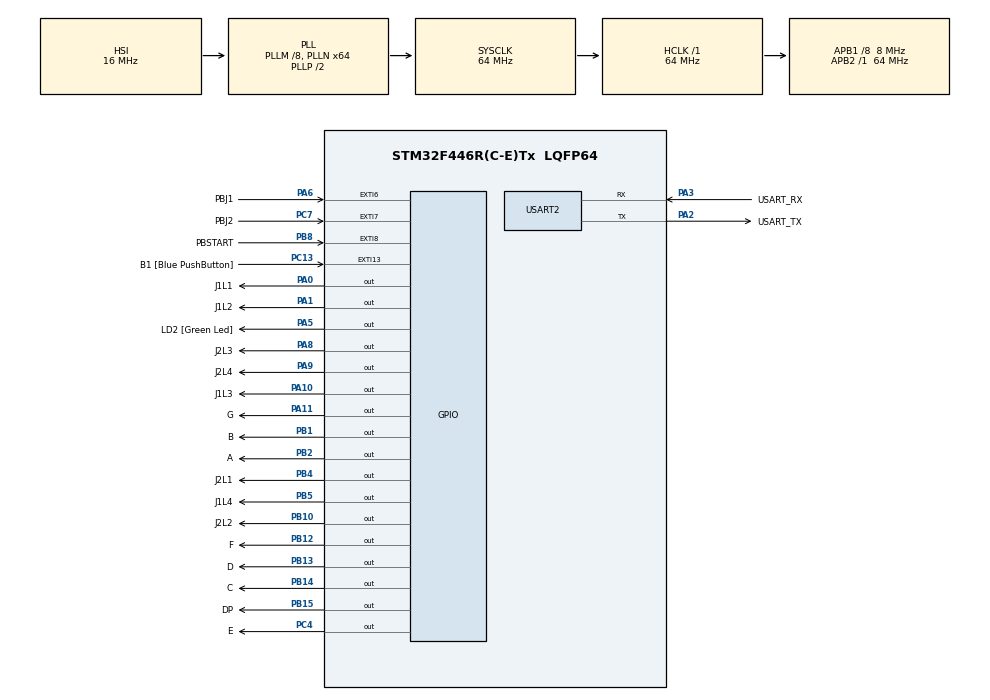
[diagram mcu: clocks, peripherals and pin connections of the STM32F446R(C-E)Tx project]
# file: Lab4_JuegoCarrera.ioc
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Mcu.Family=STM32F4
Mcu.Name=STM32F446R(C-E)Tx
Mcu.Package=LQFP64
NVIC.EXTI9_5_IRQn=true\:0\:0\:false\:false\:true\:true\:true\:true
NVIC.PriorityGroup=NVIC_PRIORITYGROUP_0
NVIC.TIM6_DAC_IRQn=true\:0\:0\:false\:false\:true\:true\:true\:true
PA0-WKUP.GPIO_Label=J1L1
PA0-WKUP.Signal=GPIO_Output
PA1.GPIO_Label=J1L2
PA1.Signal=GPIO_Output
PA10.GPIO_Label=J1L3
PA10.Signal=GPIO_Output
PA11.GPIO_Label=G
PA11.Signal=GPIO_Output
PA13.GPIO_Label=TMS
PA13.Mode=Serial_Wire
PA13.Signal=SYS_JTMS-SWDIO
PA14.GPIO_Label=TCK
PA14.Mode=Serial_Wire
PA14.Signal=SYS_JTCK-SWCLK
PA2.GPIO_Label=USART_TX
PA2.Mode=Asynchronous
PA2.Signal=USART2_TX
PA3.GPIO_Label=USART_RX
PA3.Mode=Asynchronous
PA3.Signal=USART2_RX
PA5.GPIO_Label=LD2 [Green Led]
PA5.Signal=GPIO_Output
PA6.GPIO_Label=PBJ1
PA6.GPIO_ModeDefaultEXTI=GPIO_MODE_IT_FALLING
PA6.GPIO_PuPd=GPIO_PULLUP
PA6.Signal=GPXTI6
PA8.GPIO_Label=J2L3
PA8.Signal=GPIO_Output
PA9.GPIO_Label=J2L4
PA9.Signal=GPIO_Output
PB1.GPIO_Label=B
PB1.Signal=GPIO_Output
PB10.GPIO_Label=J2L2
PB10.Signal=GPIO_Output
PB12.GPIO_Label=F
PB12.Signal=GPIO_Output
PB13.GPIO_Label=D
PB13.Signal=GPIO_Output
PB14.GPIO_Label=C
PB14.Signal=GPIO_Output
PB15.GPIO_Label=DP
PB15.Signal=GPIO_Output
PB2.GPIO_Label=A
PB2.Signal=GPIO_Output
PB3.GPIO_Label=SWO
PB3.Signal=SYS_JTDO-SWO
PB4.GPIO_Label=J2L1
PB4.Signal=GPIO_Output
PB5.GPIO_Label=J1L4
PB5.Signal=GPIO_Output
PB8.GPIO_Label=PBSTART
PB8.GPIO_ModeDefaultEXTI=GPIO_MODE_IT_FALLING
PB8.GPIO_PuPd=GPIO_PULLUP
PB8.Signal=GPXTI8
PC13.GPIO_Label=B1 [Blue PushButton]
PC13.GPIO_ModeDefaultEXTI=GPIO_MODE_IT_FALLING
PC13.GPIO_PuPd=GPIO_PULLUP
PC13.Signal=GPXTI13
PC14-OSC32_IN.Mode=LSE-External-Oscillator
PC14-OSC32_IN.Signal=RCC_OSC32_IN
PC15-OSC32_OUT.Mode=LSE-External-Oscillator
PC15-OSC32_OUT.Signal=RCC_OSC32_OUT
PC4.GPIO_Label=E
PC4.Signal=GPIO_Output
PC7.GPIO_Label=PBJ2
PC7.GPIO_ModeDefaultEXTI=GPIO_MODE_IT_FALLING
PC7.GPIO_PuPd=GPIO_PULLUP
PC7.Signal=GPXTI7
PH0-OSC_IN.Mode=HSE-External-Oscillator
PH0-OSC_IN.Signal=RCC_OSC_IN
PH1-OSC_OUT.Mode=HSE-External-Oscillator
PH1-OSC_OUT.Signal=RCC_OSC_OUT
ProjectManager.HeapSize=0x200
ProjectManager.StackSize=0x400
ProjectManager.TargetToolchain=STM32CubeIDE
RCC.48MHZClocksFreq_Value=84000000
RCC.AHBFreq_Value=64000000
RCC.APB1CLKDivider=RCC_HCLK_DIV8
RCC.APB1Freq_Value=8000000
RCC.APB1TimFreq_Value=16000000
RCC.APB2Freq_Value=64000000
RCC.APB2TimFreq_Value=64000000
RCC.CortexFreq_Value=64000000
RCC.FLatency-AdvancedSettings=FLASH_LATENCY_2
RCC.HCLKFreq_Value=64000000
RCC.HSE_VALUE=8000000
RCC.HSI_VALUE=16000000
RCC.PLLM=8
RCC.PLLN=64
RCC.SYSCLKFreq_VALUE=64000000
RCC.SYSCLKSource=RCC_SYSCLKSOURCE_PLLCLK
RCC.USBFreq_Value=64000000
RCC.VCOOutputFreq_Value=128000000
TIM6.AutoReloadPreload=TIM_AUTORELOAD_PRELOAD_ENABLE
TIM6.Period=2497-1
TIM6.Prescaler=1600-1
TIM6.TIM_MasterOutputTrigger=TIM_TRGO_UPDATE
USART2.VirtualMode=VM_ASYNC
VP_TIM6_VS_ClockSourceINT.Mode=Enable_Timer
board=NUCLEO-F446RE

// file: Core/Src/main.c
/* USER CODE BEGIN Header */
/**
  ******************************************************************************
  * @file           : main.c
  * @brief          : Main program body
  ******************************************************************************
  * @attention
  *
  * Copyright (c) 2026 STMicroelectronics.
  * All rights reserved.
  *
  * This software is licensed under terms that can be found in the LICENSE file
  * in the root directory of this software component.
  * If no LICENSE file comes with this software, it is provided AS-IS.
  *
  ******************************************************************************
  */
/* USER CODE END Header */
#include "main.h"

/* USER CODE BEGIN Includes */
#include "stdint.h"
/* USER CODE END Includes */

TIM_HandleTypeDef htim6;

UART_HandleTypeDef huart2;

/* USER CODE BEGIN PV */
uint8_t contador1 = 0;
uint8_t contador2 = 0;
uint8_t bandera_ganador = 0;
uint8_t bandera_start = 0;
uint8_t contador_tim = 0;
uint8_t bandera_carrera = 0;
/* USER CODE END PV */

void SystemClock_Config(void);
static void MX_GPIO_Init(void);
static void MX_USART2_UART_Init(void);
static void MX_TIM6_Init(void);

int main(void)
{

  /* MCU Configuration--------------------------------------------------------*/

  /* Reset of all peripherals, Initializes the Flash interface and the Systick. */
  HAL_Init();

  /* Configure the system clock */
  SystemClock_Config();

  /* Initialize all configured peripherals */
  MX_GPIO_Init();
  MX_USART2_UART_Init();
  MX_TIM6_Init();
  /* USER CODE BEGIN 2 */
HAL_TIM_Base_Start_IT(&htim6);
  /* USER CODE END 2 */

  /* Infinite loop */
  /* USER CODE BEGIN WHILE */
  while (1)
  {
	while(bandera_carrera == 0){

	}

	if(bandera_ganador){
		//HAL_GPIO_WritePin(B_GPIO_Port, B_Pin, 1);
		//HAL_GPIO_WritePin(C_GPIO_Port, C_Pin, 1);
	}else{
		if(contador1 == 1){
		    	HAL_GPIO_WritePin(J1L1_GPIO_Port, J1L1_Pin, 1);
		    	HAL_GPIO_WritePin(J1L2_GPIO_Port, J1L2_Pin, 0);
		    	HAL_GPIO_WritePin(J1L3_GPIO_Port, J1L3_Pin, 0);
		    	HAL_GPIO_WritePin(J1L4_GPIO_Port, J1L4_Pin, 0);
		    } else if (contador1 == 2){
		    	HAL_GPIO_WritePin(J1L1_GPIO_Port, J1L1_Pin, 0);
		    	HAL_GPIO_WritePin(J1L2_GPIO_Port, J1L2_Pin, 1);
		    	HAL_GPIO_WritePin(J1L3_GPIO_Port, J1L3_Pin, 0);
		    	HAL_GPIO_WritePin(J1L4_GPIO_Port, J1L4_Pin, 0);
		    }else if (contador1 == 3){
		    	HAL_GPIO_WritePin(J1L1_GPIO_Port, J1L1_Pin, 0);
		    	HAL_GPIO_WritePin(J1L2_GPIO_Port, J1L2_Pin, 0);
		    	HAL_GPIO_WritePin(J1L3_GPIO_Port, J1L3_Pin, 1);
		    	HAL_GPIO_WritePin(J1L4_GPIO_Port, J1L4_Pin, 0);
		    }else if (contador1 == 4){
		    	HAL_GPIO_WritePin(J1L1_GPIO_Port, J1L1_Pin, 0);
		    	HAL_GPIO_WritePin(J1L2_GPIO_Port, J1L2_Pin, 0);
		    	HAL_GPIO_WritePin(J1L3_GPIO_Port, J1L3_Pin, 0);
		    	HAL_GPIO_WritePin(J1L4_GPIO_Port, J1L4_Pin, 1);
		    }else if (contador1>=5){
		    	bandera_ganador = 1;
		    	HAL_GPIO_WritePin(J1L1_GPIO_Port, J1L1_Pin, 1);
		    	HAL_GPIO_WritePin(J1L2_GPIO_Port, J1L2_Pin, 1);
		    	HAL_GPIO_WritePin(J1L3_GPIO_Port, J1L3_Pin, 1);
		    	HAL_GPIO_WritePin(J1L4_GPIO_Port, J1L4_Pin, 1);
		    	HAL_GPIO_WritePin(J2L1_GPIO_Port, J2L1_Pin, 0);
		    	HAL_GPIO_WritePin(J2L2_GPIO_Port, J2L2_Pin, 0);
		    	HAL_GPIO_WritePin(J2L3_GPIO_Port, J2L3_Pin, 0);
		    	HAL_GPIO_WritePin(J2L4_GPIO_Port, J2L4_Pin, 0);

		    	HAL_GPIO_WritePin(A_GPIO_Port, A_Pin, 0);
				HAL_GPIO_WritePin(B_GPIO_Port, B_Pin, 0);
				HAL_GPIO_WritePin(C_GPIO_Port, C_Pin, 0);
				HAL_GPIO_WritePin(D_GPIO_Port, D_Pin, 0);
				HAL_GPIO_WritePin(E_GPIO_Port, E_Pin, 0);
				HAL_GPIO_WritePin(F_GPIO_Port, F_Pin, 0);
				HAL_GPIO_WritePin(G_GPIO_Port, G_Pin, 0);

				HAL_GPIO_WritePin(B_GPIO_Port, B_Pin, 1);
				HAL_GPIO_WritePin(C_GPIO_Port, C_Pin, 1);
				bandera_start = 0;
				bandera_carrera =0;
		    }

		    if(contador2 == 1){
		        	HAL_GPIO_WritePin(J2L1_GPIO_Port, J2L1_Pin, 1);
		        	HAL_GPIO_WritePin(J2L2_GPIO_Port, J2L2_Pin, 0);
		        	HAL_GPIO_WritePin(J2L3_GPIO_Port, J2L3_Pin, 0);
		        	HAL_GPIO_WritePin(J2L4_GPIO_Port, J2L4_Pin, 0);
		        } else if (contador2 == 2){
		        	HAL_GPIO_WritePin(J2L1_GPIO_Port, J2L1_Pin, 0);
		        	HAL_GPIO_WritePin(J2L2_GPIO_Port, J2L2_Pin, 1);
		        	HAL_GPIO_WritePin(J2L3_GPIO_Port, J2L3_Pin, 0);
		        	HAL_GPIO_WritePin(J2L4_GPIO_Port, J2L4_Pin, 0);
		        }else if (contador2 == 3){
		        	HAL_GPIO_WritePin(J2L1_GPIO_Port, J2L1_Pin, 0);
		        	HAL_GPIO_WritePin(J2L2_GPIO_Port, J2L2_Pin, 0);
		        	HAL_GPIO_WritePin(J2L3_GPIO_Port, J2L3_Pin, 1);
		        	HAL_GPIO_WritePin(J2L4_GPIO_Port, J2L4_Pin, 0);
		        }else if (contador2 == 4){
		        	HAL_GPIO_WritePin(J2L1_GPIO_Port, J2L1_Pin, 0);
		        	HAL_GPIO_WritePin(J2L2_GPIO_Port, J2L2_Pin, 0);
		        	HAL_GPIO_WritePin(J2L3_GPIO_Port, J2L3_Pin, 0);
		        	HAL_GPIO_WritePin(J2L4_GPIO_Port, J2L4_Pin, 1);
		        }else if(contador2 >=5){
		        	bandera_ganador = 1;
		        	HAL_GPIO_WritePin(J2L1_GPIO_Port, J2L1_Pin, 1);
		        	HAL_GPIO_WritePin(J2L2_GPIO_Port, J2L2_Pin, 1);
		        	HAL_GPIO_WritePin(J2L3_GPIO_Port, J2L3_Pin, 1);
		        	HAL_GPIO_WritePin(J2L4_GPIO_Port, J2L4_Pin, 1);
		        	HAL_GPIO_WritePin(J1L1_GPIO_Port, J1L1_Pin, 0);
		        	HAL_GPIO_WritePin(J1L2_GPIO_Port, J1L2_Pin, 0);
		        	HAL_GPIO_WritePin(J1L3_GPIO_Port, J1L3_Pin, 0);
		        	HAL_GPIO_WritePin(J1L4_GPIO_Port, J1L4_Pin, 0);

		        	HAL_GPIO_WritePin(A_GPIO_Port, A_Pin, 0);
					HAL_GPIO_WritePin(B_GPIO_Port, B_Pin, 0);
					HAL_GPIO_WritePin(C_GPIO_Port, C_Pin, 0);
					HAL_GPIO_WritePin(D_GPIO_Port, D_Pin, 0);
					HAL_GPIO_WritePin(E_GPIO_Port, E_Pin, 0);
					HAL_GPIO_WritePin(F_GPIO_Port, F_Pin, 0);
					HAL_GPIO_WritePin(G_GPIO_Port, G_Pin, 0);
					//2 ABGED
					HAL_GPIO_WritePin(A_GPIO_Port, A_Pin, 1);
					HAL_GPIO_WritePin(B_GPIO_Port, B_Pin, 1);
					HAL_GPIO_WritePin(G_GPIO_Port, G_Pin, 1);
					HAL_GPIO_WritePin(E_GPIO_Port, E_Pin, 1);
					HAL_GPIO_WritePin(D_GPIO_Port, D_Pin, 1);
					bandera_start = 0;
					bandera_carrera =0;
		        }
	}

    /* USER CODE END WHILE */

  }
}

void SystemClock_Config(void)
{
  RCC_OscInitTypeDef RCC_OscInitStruct = {0};
  RCC_ClkInitTypeDef RCC_ClkInitStruct = {0};

  /** Configure the main internal regulator output voltage
  */
  __HAL_RCC_PWR_CLK_ENABLE();
  __HAL_PWR_VOLTAGESCALING_CONFIG(PWR_REGULATOR_VOLTAGE_SCALE3);

  /** Initializes the RCC Oscillators according to the specified parameters
  * in the RCC_OscInitTypeDef structure.
  */
  RCC_OscInitStruct.OscillatorType = RCC_OSCILLATORTYPE_HSI;
  RCC_OscInitStruct.HSIState = RCC_HSI_ON;
  RCC_OscInitStruct.HSICalibrationValue = RCC_HSICALIBRATION_DEFAULT;
  RCC_OscInitStruct.PLL.PLLState = RCC_PLL_ON;
  RCC_OscInitStruct.PLL.PLLSource = RCC_PLLSOURCE_HSI;
  RCC_OscInitStruct.PLL.PLLM = 8;
  RCC_OscInitStruct.PLL.PLLN = 64;
  RCC_OscInitStruct.PLL.PLLP = RCC_PLLP_DIV2;
  RCC_OscInitStruct.PLL.PLLQ = 2;
  RCC_OscInitStruct.PLL.PLLR = 2;
  if (HAL_RCC_OscConfig(&RCC_OscInitStruct) != HAL_OK)
  {
    Error_Handler();
  }

  /** Initializes the CPU, AHB and APB buses clocks
  */
  RCC_ClkInitStruct.ClockType = RCC_CLOCKTYPE_HCLK|RCC_CLOCKTYPE_SYSCLK
                              |RCC_CLOCKTYPE_PCLK1|RCC_CLOCKTYPE_PCLK2;
  RCC_ClkInitStruct.SYSCLKSource = RCC_SYSCLKSOURCE_PLLCLK;
  RCC_ClkInitStruct.AHBCLKDivider = RCC_SYSCLK_DIV1;
  RCC_ClkInitStruct.APB1CLKDivider = RCC_HCLK_DIV8;
  RCC_ClkInitStruct.APB2CLKDivider = RCC_HCLK_DIV1;

  if (HAL_RCC_ClockConfig(&RCC_ClkInitStruct, FLASH_LATENCY_2) != HAL_OK)
  {
    Error_Handler();
  }
}

static void MX_TIM6_Init(void)
{

  TIM_MasterConfigTypeDef sMasterConfig = {0};

  htim6.Instance = TIM6;
  htim6.Init.Prescaler = 1600-1;
  htim6.Init.CounterMode = TIM_COUNTERMODE_UP;
  htim6.Init.Period = 2497-1;
  htim6.Init.AutoReloadPreload = TIM_AUTORELOAD_PRELOAD_ENABLE;
  if (HAL_TIM_Base_Init(&htim6) != HAL_OK)
  {
    Error_Handler();
  }
  sMasterConfig.MasterOutputTrigger = TIM_TRGO_UPDATE;
  sMasterConfig.MasterSlaveMode = TIM_MASTERSLAVEMODE_DISABLE;
  if (HAL_TIMEx_MasterConfigSynchronization(&htim6, &sMasterConfig) != HAL_OK)
  {
    Error_Handler();
  }

}

static void MX_USART2_UART_Init(void)
{

  huart2.Instance = USART2;
  huart2.Init.BaudRate = 115200;
  huart2.Init.WordLength = UART_WORDLENGTH_8B;
  huart2.Init.StopBits = UART_STOPBITS_1;
  huart2.Init.Parity = UART_PARITY_NONE;
  huart2.Init.Mode = UART_MODE_TX_RX;
  huart2.Init.HwFlowCtl = UART_HWCONTROL_NONE;
  huart2.Init.OverSampling = UART_OVERSAMPLING_16;
  if (HAL_UART_Init(&huart2) != HAL_OK)
  {
    Error_Handler();
  }

}

static void MX_GPIO_Init(void)
{
  GPIO_InitTypeDef GPIO_InitStruct = {0};

  /* GPIO Ports Clock Enable */
  __HAL_RCC_GPIOC_CLK_ENABLE();
  __HAL_RCC_GPIOH_CLK_ENABLE();
  __HAL_RCC_GPIOA_CLK_ENABLE();
  __HAL_RCC_GPIOB_CLK_ENABLE();

  /*Configure GPIO pin Output Level */
  HAL_GPIO_WritePin(GPIOA, J1L1_Pin|J1L2_Pin|LD2_Pin|J2L3_Pin
                          |J2L4_Pin|J1L3_Pin|G_Pin, GPIO_PIN_RESET);

  /*Configure GPIO pin Output Level */
  HAL_GPIO_WritePin(E_GPIO_Port, E_Pin, GPIO_PIN_RESET);

  /*Configure GPIO pin Output Level */
  HAL_GPIO_WritePin(GPIOB, B_Pin|A_Pin|J2L2_Pin|F_Pin
                          |D_Pin|C_Pin|DP_Pin|J2L1_Pin
                          |J1L4_Pin, GPIO_PIN_RESET);

  /*Configure GPIO pins : B1_Pin PBJ2_Pin */
  GPIO_InitStruct.Pin = B1_Pin|PBJ2_Pin;
  GPIO_InitStruct.Mode = GPIO_MODE_IT_FALLING;
  GPIO_InitStruct.Pull = GPIO_PULLUP;
  HAL_GPIO_Init(GPIOC, &GPIO_InitStruct);

  /*Configure GPIO pins : J1L1_Pin J1L2_Pin LD2_Pin J2L3_Pin
                           J2L4_Pin J1L3_Pin G_Pin */
  GPIO_InitStruct.Pin = J1L1_Pin|J1L2_Pin|LD2_Pin|J2L3_Pin
                          |J2L4_Pin|J1L3_Pin|G_Pin;
  GPIO_InitStruct.Mode = GPIO_MODE_OUTPUT_PP;
  GPIO_InitStruct.Pull = GPIO_NOPULL;
  GPIO_InitStruct.Speed = GPIO_SPEED_FREQ_LOW;
  HAL_GPIO_Init(GPIOA, &GPIO_InitStruct);

  /*Configure GPIO pin : PBJ1_Pin */
  GPIO_InitStruct.Pin = PBJ1_Pin;
  GPIO_InitStruct.Mode = GPIO_MODE_IT_FALLING;
  GPIO_InitStruct.Pull = GPIO_PULLUP;
  HAL_GPIO_Init(PBJ1_GPIO_Port, &GPIO_InitStruct);

  /*Configure GPIO pin : E_Pin */
  GPIO_InitStruct.Pin = E_Pin;
  GPIO_InitStruct.Mode = GPIO_MODE_OUTPUT_PP;
  GPIO_InitStruct.Pull = GPIO_NOPULL;
  GPIO_InitStruct.Speed = GPIO_SPEED_FREQ_LOW;
  HAL_GPIO_Init(E_GPIO_Port, &GPIO_InitStruct);

  /*Configure GPIO pins : B_Pin A_Pin J2L2_Pin F_Pin
                           D_Pin C_Pin DP_Pin J2L1_Pin
                           J1L4_Pin */
  GPIO_InitStruct.Pin = B_Pin|A_Pin|J2L2_Pin|F_Pin
                          |D_Pin|C_Pin|DP_Pin|J2L1_Pin
                          |J1L4_Pin;
  GPIO_InitStruct.Mode = GPIO_MODE_OUTPUT_PP;
  GPIO_InitStruct.Pull = GPIO_NOPULL;
  GPIO_InitStruct.Speed = GPIO_SPEED_FREQ_LOW;
  HAL_GPIO_Init(GPIOB, &GPIO_InitStruct);

  /*Configure GPIO pin : PBSTART_Pin */
  GPIO_InitStruct.Pin = PBSTART_Pin;
  GPIO_InitStruct.Mode = GPIO_MODE_IT_FALLING;
  GPIO_InitStruct.Pull = GPIO_PULLUP;
  HAL_GPIO_Init(PBSTART_GPIO_Port, &GPIO_InitStruct);

  /* EXTI interrupt init*/
  HAL_NVIC_SetPriority(EXTI9_5_IRQn, 0, 0);
  HAL_NVIC_EnableIRQ(EXTI9_5_IRQn);

}

/* USER CODE BEGIN 4 */
void HAL_GPIO_EXTI_Callback(uint16_t GPIO_Pin){
	if (GPIO_Pin == PBSTART_Pin){
		bandera_start = 1;
		bandera_ganador = 0;
		contador_tim =0;
		HAL_GPIO_WritePin(A_GPIO_Port, A_Pin, 0);
		HAL_GPIO_WritePin(B_GPIO_Port, B_Pin, 0);
		HAL_GPIO_WritePin(C_GPIO_Port, C_Pin, 0);
		HAL_GPIO_WritePin(D_GPIO_Port, D_Pin, 0);
		HAL_GPIO_WritePin(E_GPIO_Port, E_Pin, 0);
		HAL_GPIO_WritePin(F_GPIO_Port, F_Pin, 0);
		HAL_GPIO_WritePin(G_GPIO_Port, G_Pin, 0);
		HAL_GPIO_WritePin(DP_GPIO_Port, DP_Pin, 0);
		HAL_GPIO_WritePin(J1L1_GPIO_Port, J1L1_Pin, 0);
		HAL_GPIO_WritePin(J1L2_GPIO_Port, J1L2_Pin, 0);
		HAL_GPIO_WritePin(J1L3_GPIO_Port, J1L3_Pin, 0);
		HAL_GPIO_WritePin(J1L4_GPIO_Port, J1L4_Pin, 0);
		HAL_GPIO_WritePin(J2L1_GPIO_Port, J2L1_Pin, 0);
		HAL_GPIO_WritePin(J2L2_GPIO_Port, J2L2_Pin, 0);
		HAL_GPIO_WritePin(J2L3_GPIO_Port, J2L3_Pin, 0);
		HAL_GPIO_WritePin(J2L4_GPIO_Port, J2L4_Pin, 0);
	} else if(GPIO_Pin == PBJ2_Pin){
		contador2++;
	}else if(GPIO_Pin == PBJ1_Pin){
		contador1++;
		//HAL_GPIO_TogglePin(J1L1_GPIO_Port, J2L2_Pin);
	}

}
void HAL_TIM_PeriodElapsedCallback(TIM_HandleTypeDef *htim){
	//HAL_GPIO_TogglePin(LD2_GPIO_Port, LD2_Pin);
	if(bandera_start){
		contador_tim++;
		// 5 AFGCD
		if (contador_tim <=3){
			HAL_GPIO_WritePin(A_GPIO_Port, A_Pin, 1);
			HAL_GPIO_WritePin(F_GPIO_Port, F_Pin, 1);
			HAL_GPIO_WritePin(D_GPIO_Port, D_Pin, 1);
			HAL_GPIO_WritePin(G_GPIO_Port, G_Pin, 1);
			HAL_GPIO_WritePin(C_GPIO_Port, C_Pin, 1);
		}

		if(contador_tim == 4){
			//4 FGBC
			HAL_GPIO_WritePin(A_GPIO_Port, A_Pin, 0);
			HAL_GPIO_WritePin(B_GPIO_Port, B_Pin, 0);
			HAL_GPIO_WritePin(C_GPIO_Port, C_Pin, 0);
			HAL_GPIO_WritePin(D_GPIO_Port, D_Pin, 0);
			HAL_GPIO_WritePin(E_GPIO_Port, E_Pin, 0);
			HAL_GPIO_WritePin(F_GPIO_Port, F_Pin, 0);
			HAL_GPIO_WritePin(G_GPIO_Port, G_Pin, 0);

			HAL_GPIO_WritePin(F_GPIO_Port, F_Pin, 1);
			HAL_GPIO_WritePin(G_GPIO_Port, G_Pin, 1);
			HAL_GPIO_WritePin(B_GPIO_Port, B_Pin, 1);
			HAL_GPIO_WritePin(C_GPIO_Port, C_Pin, 1);
		}else if(contador_tim == 8){
			HAL_GPIO_WritePin(A_GPIO_Port, A_Pin, 0);
			HAL_GPIO_WritePin(B_GPIO_Port, B_Pin, 0);
			HAL_GPIO_WritePin(C_GPIO_Port, C_Pin, 0);
			HAL_GPIO_WritePin(D_GPIO_Port, D_Pin, 0);
			HAL_GPIO_WritePin(E_GPIO_Port, E_Pin, 0);
			HAL_GPIO_WritePin(F_GPIO_Port, F_Pin, 0);
			HAL_GPIO_WritePin(G_GPIO_Port, G_Pin, 0);
			//3 ABGCD
			HAL_GPIO_WritePin(A_GPIO_Port, A_Pin, 1);
			HAL_GPIO_WritePin(B_GPIO_Port, B_Pin, 1);
			HAL_GPIO_WritePin(G_GPIO_Port, G_Pin, 1);
			HAL_GPIO_WritePin(C_GPIO_Port, C_Pin, 1);
			HAL_GPIO_WritePin(D_GPIO_Port, D_Pin, 1);
		} else if(contador_tim == 12){
			HAL_GPIO_WritePin(A_GPIO_Port, A_Pin, 0);
			HAL_GPIO_WritePin(B_GPIO_Port, B_Pin, 0);
			HAL_GPIO_WritePin(C_GPIO_Port, C_Pin, 0);
			HAL_GPIO_WritePin(D_GPIO_Port, D_Pin, 0);
			HAL_GPIO_WritePin(E_GPIO_Port, E_Pin, 0);
			HAL_GPIO_WritePin(F_GPIO_Port, F_Pin, 0);
			HAL_GPIO_WritePin(G_GPIO_Port, G_Pin, 0);
			//2 ABGED
			HAL_GPIO_WritePin(A_GPIO_Port, A_Pin, 1);
			HAL_GPIO_WritePin(B_GPIO_Port, B_Pin, 1);
			HAL_GPIO_WritePin(G_GPIO_Port, G_Pin, 1);
			HAL_GPIO_WritePin(E_GPIO_Port, E_Pin, 1);
			HAL_GPIO_WritePin(D_GPIO_Port, D_Pin, 1);
		} else if(contador_tim == 16){
			HAL_GPIO_WritePin(A_GPIO_Port, A_Pin, 0);
			HAL_GPIO_WritePin(B_GPIO_Port, B_Pin, 0);
			HAL_GPIO_WritePin(C_GPIO_Port, C_Pin, 0);
			HAL_GPIO_WritePin(D_GPIO_Port, D_Pin, 0);
			HAL_GPIO_WritePin(E_GPIO_Port, E_Pin, 0);
			HAL_GPIO_WritePin(F_GPIO_Port, F_Pin, 0);
			HAL_GPIO_WritePin(G_GPIO_Port, G_Pin, 0);

			HAL_GPIO_WritePin(B_GPIO_Port, B_Pin, 1);
			HAL_GPIO_WritePin(C_GPIO_Port, C_Pin, 1);
		} else if (contador_tim == 20){
			//ABCDEF
			HAL_GPIO_WritePin(A_GPIO_Port, A_Pin, 0);
			HAL_GPIO_WritePin(B_GPIO_Port, B_Pin, 0);
			HAL_GPIO_WritePin(C_GPIO_Port, C_Pin, 0);
			HAL_GPIO_WritePin(D_GPIO_Port, D_Pin, 0);
			HAL_GPIO_WritePin(E_GPIO_Port, E_Pin, 0);
			HAL_GPIO_WritePin(F_GPIO_Port, F_Pin, 0);
			HAL_GPIO_WritePin(G_GPIO_Port, G_Pin, 0);
			HAL_GPIO_WritePin(A_GPIO_Port, A_Pin, 1);
			HAL_GPIO_WritePin(B_GPIO_Port, B_Pin, 1);
			HAL_GPIO_WritePin(C_GPIO_Port, C_Pin, 1);
			HAL_GPIO_WritePin(D_GPIO_Port, D_Pin, 1);
			HAL_GPIO_WritePin(E_GPIO_Port, E_Pin, 1);
			HAL_GPIO_WritePin(F_GPIO_Port, F_Pin, 1);
			HAL_GPIO_WritePin(DP_GPIO_Port, DP_Pin, 1);
			bandera_carrera = 1;
			contador1 = 0;
			contador2 = 0;
		}
	}
}

/* USER CODE END 4 */

void Error_Handler(void)
{
  __disable_irq();
  while (1)
  {
  }
}
